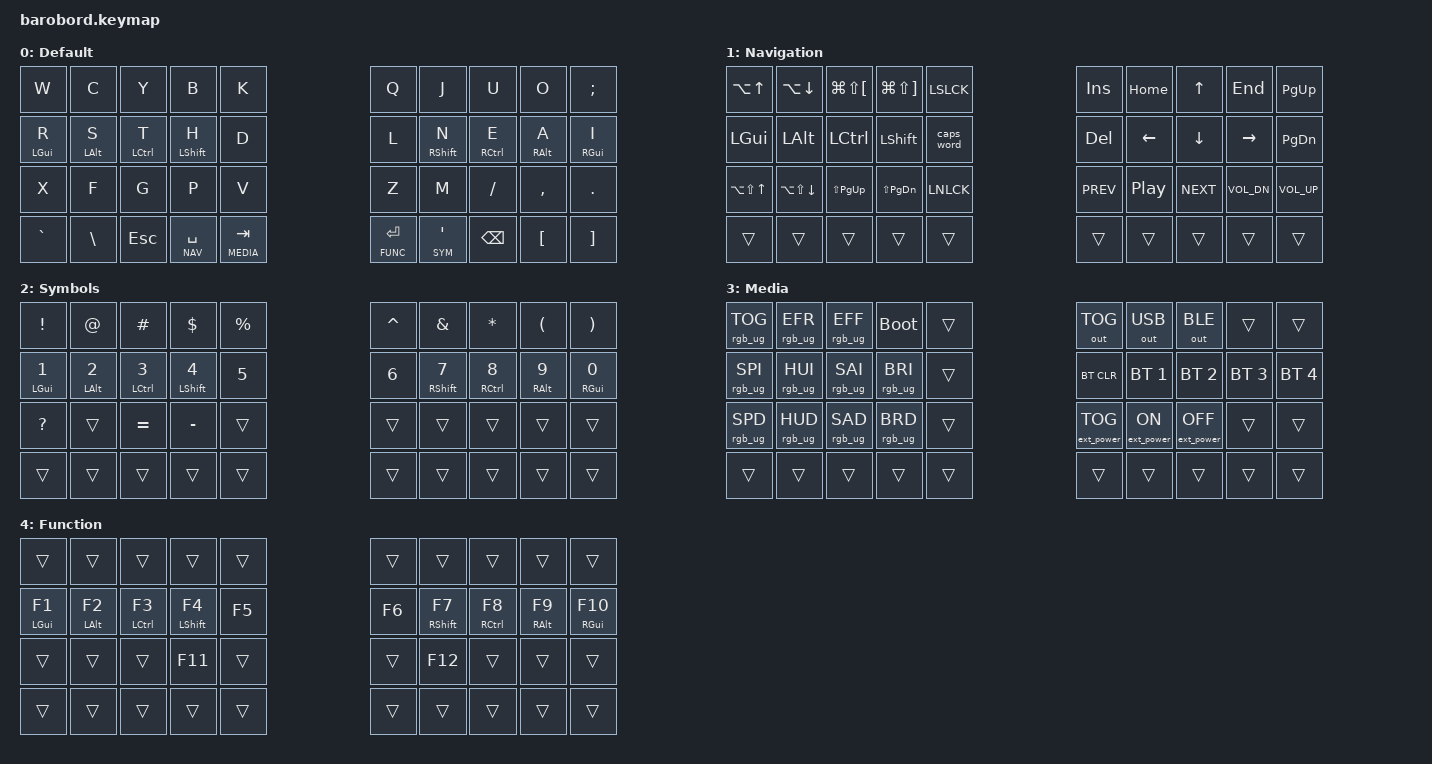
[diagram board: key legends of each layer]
#include <behaviors.dtsi>
#include <dt-bindings/zmk/keys.h>
#include <dt-bindings/zmk/rgb.h>
#include <dt-bindings/zmk/bt.h>
#include <dt-bindings/zmk/ext_power.h>
#include <dt-bindings/zmk/outputs.h>

#define DEFAULT 0
#define NAV     1
#define SYM     2
#define MEDIA   3
#define FUNC    4

&caps_word {
    continue-list = <UNDERSCORE MINUS>;
};

&lt {
    tapping-term-ms = <250>;
    quick_tap_ms = <250>;
    flavor = "tap-preferred";
};

/ {
    behaviors {
        hm: homerow_mods {
            compatible = "zmk,behavior-hold-tap";
            label = "HOMEROW_MODS";
            #binding-cells = <2>;
            tapping-term-ms = <250>;
            quick_tap_ms = <250>;
            flavor = "tap-preferred";
            bindings = <&kp>, <&kp>;
        };
    };

    keymap {
        compatible = "zmk,keymap";

        default_layer {
            label = "Default";

            bindings = <
               &kp W        &kp C        &kp Y       &kp B         &kp K                                       &kp Q         &kp J        &kp U         &kp O       &kp SEMI
               &hm LGUI R   &hm LALT S   &hm LCTL T  &hm LSHIFT H  &kp D                                       &kp L         &hm RSHIFT N &hm RCTL E    &hm RALT A  &hm RGUI I
               &kp X        &kp F        &kp G       &kp P         &kp V                                       &kp Z         &kp M        &kp FSLH      &kp COMMA   &kp DOT
                            &kp GRAVE    &kp BSLH    &kp ESC       &lt NAV SPC  &lt MEDIA TAB  &lt FUNC RET    &lt SYM SQT   &kp BSPC     &kp LBKT      &kp RBKT
            >;
        };

        nav_layer {
            label = "Navigation";

            bindings = <
               &kp LA(UP)     &kp LA(DOWN)     &kp LG(LS(LBKT)) &kp LG(LS(RBKT)) &kp LSLCK                     &kp INS       &kp HOME         &kp UP     &kp END      &kp PG_UP
               &kp LGUI       &kp LALT         &kp LCTL         &kp LSHIFT       &caps_word                    &kp DEL       &kp LEFT         &kp DOWN   &kp RIGHT    &kp PG_DN
               &kp LA(LS(UP)) &kp LA(LS(DOWN)) &kp LS(PG_UP)    &kp LS(PG_DN)    &kp LNLCK                     &kp C_PREV    &kp C_PLAY_PAUSE &kp C_NEXT &kp C_VOL_DN &kp C_VOL_UP
                                &trans         &trans           &trans           &trans      &trans  &trans    &trans        &trans           &trans     &trans
            >;
        };

        sym_layer {
            label = "Symbols";

            bindings = <
               &kp EXCL     &kp AT       &kp HASH        &kp DLLR         &kp PRCNT                              &kp CARET     &kp AMPS      &kp ASTRK     &kp LPAR    &kp RPAR
               &hm LGUI N1  &hm LALT N2  &hm LCTL N3     &hm LSHFT N4     &kp N5                                 &kp N6        &hm RSHFT N7  &hm RCTL N8   &hm RALT N9 &hm RGUI N0
               &kp QMARK    &trans       &kp EQUAL       &kp MINUS        &trans                                 &trans        &trans        &trans        &trans      &trans
                            &trans       &trans          &trans           &trans         &trans    &trans        &trans        &trans        &trans        &trans
            >;
        };

        media_layer {
            label = "Media";

            bindings = <
               &rgb_ug RGB_TOG  &rgb_ug RGB_EFR  &rgb_ug RGB_EFF &bootloader       &trans                            &out OUT_TOG       &out OUT_USB      &out OUT_BLE       &trans         &trans
               &rgb_ug RGB_SPI  &rgb_ug RGB_HUI  &rgb_ug RGB_SAI &rgb_ug RGB_BRI   &trans                            &bt BT_CLR         &bt BT_SEL 1      &bt BT_SEL 2       &bt BT_SEL 3   &bt BT_SEL 4
               &rgb_ug RGB_SPD  &rgb_ug RGB_HUD  &rgb_ug RGB_SAD &rgb_ug RGB_BRD   &trans                            &ext_power EP_TOG  &ext_power EP_ON  &ext_power EP_OFF  &trans         &trans
                                &trans           &trans          &trans            &trans      &trans    &trans      &trans             &trans            &trans             &trans
            >;
        };

        func_layer {
            label = "Function";

            bindings = <
               &trans       &trans       &trans       &trans        &trans                           &trans     &trans        &trans       &trans       &trans
               &hm LGUI F1  &hm LALT F2  &hm LCTL F3  &hm LSHFT F4  &kp F5                           &kp F6     &hm RSHFT F7  &hm RCTL F8  &hm RALT F9  &hm RGUI F10
               &trans       &trans       &trans       &kp F11       &trans                           &trans     &kp F12       &trans       &trans       &trans
                            &trans       &trans       &trans        &trans      &trans    &trans     &trans     &trans        &trans       &trans
            >;
        };
    };
};
